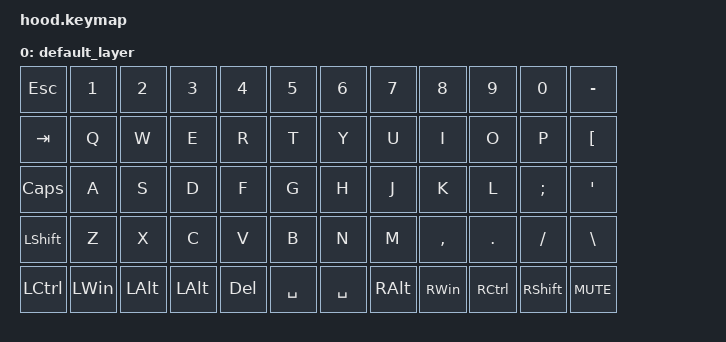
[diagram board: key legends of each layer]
#include <behaviors.dtsi>
#include <dt-bindings/zmk/keys.h>

/{
    keymap {
        compatible = "zmk,keymap";

        default_layer { // Layer 0
            // -------------------------------------
            // |     ESC      |     1     |     2     |     3     |     4     |     5     |                |     6     |     7     |     8     |     9     |     0     |     -     |
            // |     TAB      |     Q     |     W     |     E     |     R     |     T     |                |     Y     |     U     |     I     |     O     |     P     |     [     |
            // |     CAPS     |     A     |     S     |     D     |     F     |     G     |                |     H     |     J     |     K     |     L     |     ;     |     '     |
            // |     SHIFT    |     Z     |     X     |     C     |     V     |     B     |                |     N     |     M     |     ,     |     .     |     /     |     \     |
            // |              |     WIN   |     ALT   |     FN    |     ALT   |     SP    |                |     SP    |    RALT   |    RWIN   |   RCTRL   |   RSHIFT  |    MUTE   |
            bindings = <
                &kp ESC         &kp N1      &kp N2          &kp N3        &kp N4    &kp N5                  &kp N6      &kp N7         &kp N8           &kp N9          &kp N0              &kp MINUS 
                &kp TAB         &kp Q       &kp W           &kp E         &kp R     &kp T                   &kp Y       &kp U          &kp I            &kp O           &kp P               &kp LBKT 
                &kp CAPSLOCK    &kp A       &kp S           &kp D         &kp F     &kp G                   &kp H       &kp J          &kp K            &kp L           &kp SEMI            &kp SQT 
                &kp LSHIFT      &kp Z       &kp X           &kp C         &kp V     &kp B                   &kp N       &kp M          &kp COMMA        &kp DOT         &kp FSLH            &kp BSLH 
                &kp LCTRL       &kp LWIN    &kp LEFT_ALT    &kp LEFT_ALT  &kp DEL   &kp SPACE               &kp SPACE   &kp RIGHT_ALT  &kp RWIN         &kp RCTRL       &kp RIGHT_SHIFT     &kp C_MUTE 
            >;
        };
    };
};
